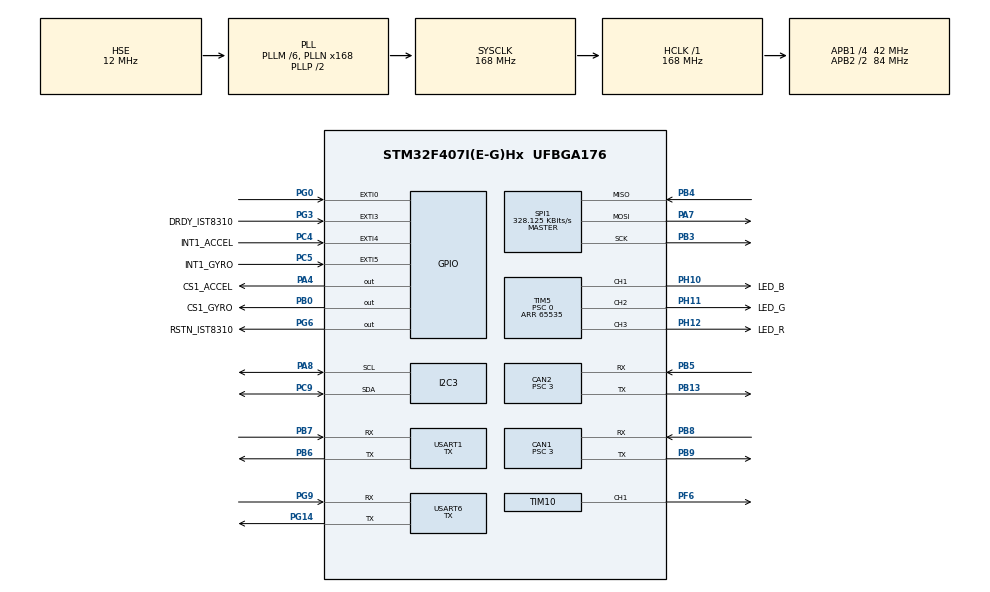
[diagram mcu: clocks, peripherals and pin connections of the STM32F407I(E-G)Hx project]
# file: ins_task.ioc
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CAN1.BS1=CAN_BS1_10TQ
CAN1.BS2=CAN_BS2_3TQ
CAN1.CalculateBaudRate=1000000
CAN1.CalculateTimeBit=1000
CAN1.CalculateTimeQuantum=71.42857142857143
CAN1.Prescaler=3
CAN2.BS1=CAN_BS1_10TQ
CAN2.BS2=CAN_BS2_3TQ
CAN2.CalculateBaudRate=1000000
CAN2.CalculateTimeBit=1000
CAN2.CalculateTimeQuantum=71.42857142857143
CAN2.Prescaler=3
Dma.Request0=SPI1_RX
Dma.Request1=SPI1_TX
Dma.Request2=USART1_TX
Dma.Request3=USART6_TX
Dma.SPI1_RX.0.Direction=DMA_PERIPH_TO_MEMORY
Dma.SPI1_RX.0.FIFOMode=DMA_FIFOMODE_DISABLE
Dma.SPI1_RX.0.Instance=DMA2_Stream2
Dma.SPI1_RX.0.MemDataAlignment=DMA_MDATAALIGN_BYTE
Dma.SPI1_RX.0.MemInc=DMA_MINC_ENABLE
Dma.SPI1_RX.0.Mode=DMA_NORMAL
Dma.SPI1_RX.0.PeriphDataAlignment=DMA_PDATAALIGN_BYTE
Dma.SPI1_RX.0.PeriphInc=DMA_PINC_DISABLE
Dma.SPI1_RX.0.Priority=DMA_PRIORITY_VERY_HIGH
Dma.SPI1_TX.1.Direction=DMA_MEMORY_TO_PERIPH
Dma.SPI1_TX.1.FIFOMode=DMA_FIFOMODE_DISABLE
Dma.SPI1_TX.1.Instance=DMA2_Stream3
Dma.SPI1_TX.1.MemDataAlignment=DMA_MDATAALIGN_BYTE
Dma.SPI1_TX.1.MemInc=DMA_MINC_ENABLE
Dma.SPI1_TX.1.Mode=DMA_NORMAL
Dma.SPI1_TX.1.PeriphDataAlignment=DMA_PDATAALIGN_BYTE
Dma.SPI1_TX.1.PeriphInc=DMA_PINC_DISABLE
Dma.SPI1_TX.1.Priority=DMA_PRIORITY_HIGH
Dma.USART1_TX.2.Direction=DMA_MEMORY_TO_PERIPH
Dma.USART1_TX.2.FIFOMode=DMA_FIFOMODE_DISABLE
Dma.USART1_TX.2.Instance=DMA2_Stream7
Dma.USART1_TX.2.MemDataAlignment=DMA_MDATAALIGN_BYTE
Dma.USART1_TX.2.MemInc=DMA_MINC_ENABLE
Dma.USART1_TX.2.Mode=DMA_NORMAL
Dma.USART1_TX.2.PeriphDataAlignment=DMA_PDATAALIGN_BYTE
Dma.USART1_TX.2.PeriphInc=DMA_PINC_DISABLE
Dma.USART1_TX.2.Priority=DMA_PRIORITY_LOW
Dma.USART6_TX.3.Direction=DMA_MEMORY_TO_PERIPH
Dma.USART6_TX.3.FIFOMode=DMA_FIFOMODE_DISABLE
Dma.USART6_TX.3.Instance=DMA2_Stream6
Dma.USART6_TX.3.MemDataAlignment=DMA_MDATAALIGN_BYTE
Dma.USART6_TX.3.MemInc=DMA_MINC_ENABLE
Dma.USART6_TX.3.Mode=DMA_NORMAL
Dma.USART6_TX.3.PeriphDataAlignment=DMA_PDATAALIGN_BYTE
Dma.USART6_TX.3.PeriphInc=DMA_PINC_DISABLE
Dma.USART6_TX.3.Priority=DMA_PRIORITY_LOW
FREERTOS.INCLUDE_eTaskGetState=1
FREERTOS.INCLUDE_pcTaskGetTaskName=1
FREERTOS.INCLUDE_uxTaskGetStackHighWaterMark=1
FREERTOS.INCLUDE_vTaskCleanUpResources=1
FREERTOS.INCLUDE_vTaskDelayUntil=1
FREERTOS.INCLUDE_xEventGroupSetBitFromISR=1
FREERTOS.INCLUDE_xQueueGetMutexHolder=1
FREERTOS.INCLUDE_xSemaphoreGetMutexHolder=1
FREERTOS.INCLUDE_xTaskAbortDelay=1
FREERTOS.INCLUDE_xTaskGetCurrentTaskHandle=1
FREERTOS.INCLUDE_xTaskGetHandle=1
FREERTOS.INCLUDE_xTimerPendFunctionCall=1
FREERTOS.Tasks01=test,24,128,test_task,As weak,NULL,Dynamic,NULL,NULL
FREERTOS.configTOTAL_HEAP_SIZE=24576
I2C3.I2C_Mode=I2C_Fast
Mcu.Family=STM32F4
Mcu.Name=STM32F407I(E-G)Hx
Mcu.Package=UFBGA176
NVIC.CAN1_RX0_IRQn=true\:5\:0\:false\:false\:true\:true\:true\:true\:true
NVIC.CAN2_RX0_IRQn=true\:5\:0\:false\:false\:true\:true\:true\:true\:true
NVIC.DMA2_Stream2_IRQn=true\:5\:0\:true\:false\:false\:true\:false\:true\:true
NVIC.DMA2_Stream3_IRQn=true\:5\:0\:true\:false\:false\:true\:false\:true\:true
NVIC.DMA2_Stream6_IRQn=true\:5\:0\:false\:false\:true\:true\:false\:true\:true
NVIC.DMA2_Stream7_IRQn=true\:5\:0\:false\:false\:true\:true\:false\:true\:true
NVIC.EXTI0_IRQn=true\:6\:0\:true\:false\:true\:true\:true\:true\:true
NVIC.EXTI3_IRQn=true\:5\:0\:true\:false\:true\:true\:true\:true\:true
NVIC.EXTI4_IRQn=true\:5\:0\:true\:false\:true\:true\:true\:true\:true
NVIC.EXTI9_5_IRQn=true\:5\:0\:true\:false\:true\:true\:true\:true\:true
NVIC.PriorityGroup=NVIC_PRIORITYGROUP_4
NVIC.TIM7_IRQn=true\:15\:0\:false\:false\:true\:false\:false\:true\:true
NVIC.TimeBase=TIM7_IRQn
NVIC.TimeBaseIP=TIM7
PA13.Mode=Serial_Wire
PA13.Signal=SYS_JTMS-SWDIO
PA14.Mode=Serial_Wire
PA14.Signal=SYS_JTCK-SWCLK
PA4.GPIO_Label=CS1_ACCEL
PA4.GPIO_PuPd=GPIO_PULLUP
PA4.GPIO_Speed=GPIO_SPEED_FREQ_HIGH
PA4.PinState=GPIO_PIN_SET
PA4.Signal=GPIO_Output
PA7.GPIO_PuPd=GPIO_PULLUP
PA7.Mode=Full_Duplex_Master
PA7.Signal=SPI1_MOSI
PA8.GPIO_Pu=GPIO_PULLUP
PA8.Mode=I2C
PA8.Signal=I2C3_SCL
PB0.GPIO_Label=CS1_GYRO
PB0.GPIO_PuPd=GPIO_PULLUP
PB0.GPIO_Speed=GPIO_SPEED_FREQ_HIGH
PB0.PinState=GPIO_PIN_SET
PB0.Signal=GPIO_Output
PB13.Mode=CAN_Activate
PB13.Signal=CAN2_TX
PB3.GPIO_PuPd=GPIO_PULLUP
PB3.Mode=Full_Duplex_Master
PB3.Signal=SPI1_SCK
PB4.GPIO_PuPd=GPIO_PULLUP
PB4.Mode=Full_Duplex_Master
PB4.Signal=SPI1_MISO
PB5.Mode=CAN_Activate
PB5.Signal=CAN2_RX
PB6.Mode=Asynchronous
PB6.Signal=USART1_TX
PB7.Mode=Asynchronous
PB7.Signal=USART1_RX
PB8.Mode=CAN_Activate
PB8.Signal=CAN1_RX
PB9.Mode=CAN_Activate
PB9.Signal=CAN1_TX
PC4.GPIO_Label=INT1_ACCEL
PC4.GPIO_ModeDefaultEXTI=GPIO_MODE_IT_FALLING
PC4.GPIO_PuPd=GPIO_PULLUP
PC4.Signal=GPXTI4
PC5.GPIO_Label=INT1_GYRO
PC5.GPIO_ModeDefaultEXTI=GPIO_MODE_IT_FALLING
PC5.GPIO_PuPd=GPIO_PULLUP
PC5.Signal=GPXTI5
PC9.GPIO_Pu=GPIO_PULLUP
PC9.Mode=I2C
PC9.Signal=I2C3_SDA
PF6.GPIO_PuPd=GPIO_PULLUP
PF6.GPIO_Speed=GPIO_SPEED_FREQ_HIGH
PF6.Signal=S_TIM10_CH1
PG0.GPIO_ModeDefaultEXTI=GPIO_MODE_IT_FALLING
PG0.GPIO_PuPd=GPIO_PULLUP
PG0.Signal=GPXTI0
PG14.Mode=Asynchronous
PG14.Signal=USART6_TX
PG3.GPIO_Label=DRDY_IST8310
PG3.GPIO_ModeDefaultEXTI=GPIO_MODE_IT_FALLING
PG3.GPIO_PuPd=GPIO_PULLUP
PG3.Signal=GPXTI3
PG6.GPIO_Label=RSTN_IST8310
PG6.GPIO_PuPd=GPIO_PULLUP
PG6.GPIO_Speed=GPIO_SPEED_FREQ_MEDIUM
PG6.PinState=GPIO_PIN_SET
PG6.Signal=GPIO_Output
PG9.Mode=Asynchronous
PG9.Signal=USART6_RX
PH0-OSC_IN.Mode=HSE-External-Oscillator
PH0-OSC_IN.Signal=RCC_OSC_IN
PH1-OSC_OUT.Mode=HSE-External-Oscillator
PH1-OSC_OUT.Signal=RCC_OSC_OUT
PH10.GPIO_Label=LED_B
PH10.GPIO_PuPd=GPIO_PULLUP
PH10.GPIO_Speed=GPIO_SPEED_FREQ_HIGH
PH10.Signal=S_TIM5_CH1
PH11.GPIO_Label=LED_G
PH11.GPIO_PuPd=GPIO_PULLUP
PH11.GPIO_Speed=GPIO_SPEED_FREQ_HIGH
PH11.Signal=S_TIM5_CH2
PH12.GPIO_Label=LED_R
PH12.GPIO_PuPd=GPIO_PULLUP
PH12.GPIO_Speed=GPIO_SPEED_FREQ_HIGH
PH12.Signal=S_TIM5_CH3
ProjectManager.HeapSize=0x2000
ProjectManager.StackSize=0x2000
ProjectManager.TargetToolchain=MDK-ARM V5
RCC.48MHZClocksFreq_Value=48000000
RCC.AHBFreq_Value=168000000
RCC.APB1CLKDivider=RCC_HCLK_DIV4
RCC.APB1Freq_Value=42000000
RCC.APB1TimFreq_Value=84000000
RCC.APB2CLKDivider=RCC_HCLK_DIV2
RCC.APB2Freq_Value=84000000
RCC.APB2TimFreq_Value=168000000
RCC.CortexFreq_Value=168000000
RCC.HCLKFreq_Value=168000000
RCC.HSE_VALUE=12000000
RCC.HSI_VALUE=16000000
RCC.LSE_VALUE=32768
RCC.PLLM=6
RCC.PLLN=168
RCC.PLLQ=7
RCC.PLLSourceVirtual=RCC_PLLSOURCE_HSE
RCC.RCC_RTC_Clock_SourceVirtual=RCC_RTCCLKSOURCE_HSE_DIV30
RCC.RCC_RTC_Clock_Source_FROM_HSE=RCC_RTCCLKSOURCE_HSE_DIV30
RCC.SYSCLKFreq_VALUE=168000000
RCC.SYSCLKSource=RCC_SYSCLKSOURCE_PLLCLK
RCC.VCOOutputFreq_Value=336000000
SH.S_TIM10_CH1.0=TIM10_CH1,PWM Generation1 CH1
SH.S_TIM5_CH1.0=TIM5_CH1,PWM Generation1 CH1
SH.S_TIM5_CH2.0=TIM5_CH2,PWM Generation2 CH2
SH.S_TIM5_CH3.0=TIM5_CH3,PWM Generation3 CH3
SPI1.BaudRatePrescaler=SPI_BAUDRATEPRESCALER_256
SPI1.CLKPhase=SPI_PHASE_2EDGE
SPI1.CLKPolarity=SPI_POLARITY_HIGH
SPI1.CalculateBaudRate=328.125 KBits/s
SPI1.Direction=SPI_DIRECTION_2LINES
SPI1.Mode=SPI_MODE_MASTER
SPI1.VirtualType=VM_MASTER
TIM10.Channel=TIM_CHANNEL_1
TIM10.Period=4999
TIM5.Channel-PWM\ Generation1\ CH1=TIM_CHANNEL_1
TIM5.Channel-PWM\ Generation2\ CH2=TIM_CHANNEL_2
TIM5.Channel-PWM\ Generation3\ CH3=TIM_CHANNEL_3
TIM5.Period=65535
TIM5.Prescaler=0
USART1.Mode=MODE_TX
USART1.VirtualMode=VM_ASYNC
USART6.Mode=MODE_TX
USART6.VirtualMode=VM_ASYNC
VP_FREERTOS_VS_CMSIS_V1.Mode=CMSIS_V1
VP_SYS_VS_tim7.Mode=TIM7
VP_TIM10_VS_ClockSourceINT.Mode=Enable_Timer
VP_TIM5_VS_ClockSourceINT.Mode=Internal
board=custom

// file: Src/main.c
/* USER CODE BEGIN Header */
/**
  ******************************************************************************
  * @file           : main.c
  * @brief          : Main program body
  ******************************************************************************
  * @attention
  *
  * <h2><center>&copy; Copyright (c) 2019 STMicroelectronics.
  * All rights reserved.</center></h2>
  *
  * This software component is licensed by ST under Ultimate Liberty license
  * SLA0044, the "License"; You may not use this file except in compliance with
  * the License. You may obtain a copy of the License at:
  *                             www.st.com/SLA0044
  *
  ******************************************************************************
  */
/* USER CODE END Header */
#include "main.h"
#include "cmsis_os.h"
#include "can.h"
#include "dma.h"
#include "i2c.h"
#include "spi.h"
#include "tim.h"
#include "usart.h"
#include "gpio.h"

/* USER CODE BEGIN Includes */
#include "bsp_delay.h"
/* USER CODE END Includes */

void SystemClock_Config(void);
void MX_FREERTOS_Init(void);

int main(void)
{

  /* MCU Configuration--------------------------------------------------------*/

  /* Reset of all peripherals, Initializes the Flash interface and the Systick. */
  HAL_Init();

  /* Configure the system clock */
  SystemClock_Config();

  /* Initialize all configured peripherals */
  MX_GPIO_Init();
  MX_DMA_Init();
  MX_SPI1_Init();
  MX_TIM5_Init();
  MX_I2C3_Init();
  MX_TIM10_Init();
  MX_USART1_UART_Init();
  MX_USART6_UART_Init();
  MX_CAN1_Init();
  MX_CAN2_Init();
  /* USER CODE BEGIN 2 */
    delay_init();
  /* USER CODE END 2 */

  /* Call init function for freertos objects (in cmsis_os2.c) */
  MX_FREERTOS_Init();

  /* Start scheduler */
  osKernelStart();

  /* We should never get here as control is now taken by the scheduler */

  /* Infinite loop */
  while (1)
  {

  }
}

void SystemClock_Config(void)
{
  RCC_OscInitTypeDef RCC_OscInitStruct = {0};
  RCC_ClkInitTypeDef RCC_ClkInitStruct = {0};

  /** Configure the main internal regulator output voltage
  */
  __HAL_RCC_PWR_CLK_ENABLE();
  __HAL_PWR_VOLTAGESCALING_CONFIG(PWR_REGULATOR_VOLTAGE_SCALE1);

  /** Initializes the RCC Oscillators according to the specified parameters
  * in the RCC_OscInitTypeDef structure.
  */
  RCC_OscInitStruct.OscillatorType = RCC_OSCILLATORTYPE_HSE;
  RCC_OscInitStruct.HSEState = RCC_HSE_ON;
  RCC_OscInitStruct.PLL.PLLState = RCC_PLL_ON;
  RCC_OscInitStruct.PLL.PLLSource = RCC_PLLSOURCE_HSE;
  RCC_OscInitStruct.PLL.PLLM = 6;
  RCC_OscInitStruct.PLL.PLLN = 168;
  RCC_OscInitStruct.PLL.PLLP = RCC_PLLP_DIV2;
  RCC_OscInitStruct.PLL.PLLQ = 7;
  if (HAL_RCC_OscConfig(&RCC_OscInitStruct) != HAL_OK)
  {
    Error_Handler();
  }

  /** Initializes the CPU, AHB and APB buses clocks
  */
  RCC_ClkInitStruct.ClockType = RCC_CLOCKTYPE_HCLK|RCC_CLOCKTYPE_SYSCLK
                              |RCC_CLOCKTYPE_PCLK1|RCC_CLOCKTYPE_PCLK2;
  RCC_ClkInitStruct.SYSCLKSource = RCC_SYSCLKSOURCE_PLLCLK;
  RCC_ClkInitStruct.AHBCLKDivider = RCC_SYSCLK_DIV1;
  RCC_ClkInitStruct.APB1CLKDivider = RCC_HCLK_DIV4;
  RCC_ClkInitStruct.APB2CLKDivider = RCC_HCLK_DIV2;

  if (HAL_RCC_ClockConfig(&RCC_ClkInitStruct, FLASH_LATENCY_5) != HAL_OK)
  {
    Error_Handler();
  }
}

void HAL_TIM_PeriodElapsedCallback(TIM_HandleTypeDef *htim)
{
  if (htim->Instance == TIM7) {
    HAL_IncTick();
  }
}

void Error_Handler(void)
{
}

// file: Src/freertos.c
/* USER CODE BEGIN Header */
/**
 ******************************************************************************
 * File Name          : freertos.c
 * Description        : Code for freertos applications
 ******************************************************************************
 * @attention
 *
 * <h2><center>&copy; Copyright (c) 2019 STMicroelectronics.
 * All rights reserved.</center></h2>
 *
 * This software component is licensed by ST under Ultimate Liberty license
 * SLA0044, the "License"; You may not use this file except in compliance with
 * the License. You may obtain a copy of the License at:
 *                             www.st.com/SLA0044
 *
 ******************************************************************************
 */
/* USER CODE END Header */

#include "FreeRTOS.h"
#include "cmsis_os.h"
#include "main.h"
#include "task.h"

/* USER CODE BEGIN Includes */

#include "INS_task.h"
#include "data_broadcast_task.h"
#include "led_flow_task.h"

/* USER CODE END Includes */

/* USER CODE BEGIN PTD */

osThreadId imuTaskHandle;
osThreadId led_RGB_flow_handle;

osThreadId uart1_broadcast_handle;
osThreadId uart6_broadcast_handle;
/* USER CODE END PTD */

osThreadId testHandle;

void test_task(void const *argument);

void MX_FREERTOS_Init(void); /* (MISRA C 2004 rule 8.1) */

/* GetIdleTaskMemory prototype (linked to static allocation support) */
void vApplicationGetIdleTaskMemory(StaticTask_t **ppxIdleTaskTCBBuffer,
                                   StackType_t **ppxIdleTaskStackBuffer,
                                   uint32_t *pulIdleTaskStackSize);

/* GetTimerTaskMemory prototype (linked to static allocation support) */
void vApplicationGetTimerTaskMemory(StaticTask_t **ppxTimerTaskTCBBuffer,
                                    StackType_t **ppxTimerTaskStackBuffer,
                                    uint32_t *pulTimerTaskStackSize);

/* USER CODE BEGIN GET_IDLE_TASK_MEMORY */
static StaticTask_t xIdleTaskTCBBuffer;
static StackType_t xIdleStack[configMINIMAL_STACK_SIZE];

void vApplicationGetIdleTaskMemory(StaticTask_t **ppxIdleTaskTCBBuffer,
                                   StackType_t **ppxIdleTaskStackBuffer,
                                   uint32_t *pulIdleTaskStackSize) {
  *ppxIdleTaskTCBBuffer = &xIdleTaskTCBBuffer;
  *ppxIdleTaskStackBuffer = &xIdleStack[0];
  *pulIdleTaskStackSize = configMINIMAL_STACK_SIZE;
  /* place for user code */
}
/* USER CODE END GET_IDLE_TASK_MEMORY */

/* USER CODE BEGIN GET_TIMER_TASK_MEMORY */
static StaticTask_t xTimerTaskTCBBuffer;
static StackType_t xTimerStack[configTIMER_TASK_STACK_DEPTH];

void vApplicationGetTimerTaskMemory(StaticTask_t **ppxTimerTaskTCBBuffer,
                                    StackType_t **ppxTimerTaskStackBuffer,
                                    uint32_t *pulTimerTaskStackSize) {
  *ppxTimerTaskTCBBuffer = &xTimerTaskTCBBuffer;
  *ppxTimerTaskStackBuffer = &xTimerStack[0];
  *pulTimerTaskStackSize = configTIMER_TASK_STACK_DEPTH;
  /* place for user code */
}
/* USER CODE END GET_TIMER_TASK_MEMORY */

void MX_FREERTOS_Init(void) {

  /* Create the thread(s) */
  /* definition and creation of test */
  osThreadDef(test, test_task, osPriorityNormal, 0, 128);
  testHandle = osThreadCreate(osThread(test), NULL);

  /* USER CODE BEGIN RTOS_THREADS */
  /* add threads, ... */
  osThreadDef(imuTask, INS_task, osPriorityRealtime, 0, 1024);
  imuTaskHandle = osThreadCreate(osThread(imuTask), NULL);

  osThreadDef(led, led_RGB_flow_task, osPriorityNormal, 0, 256);
  led_RGB_flow_handle = osThreadCreate(osThread(led), NULL);

  osThreadDef(uart1_broadcast, uart1_broadcast_task, osPriorityNormal, 0, 256);
  uart1_broadcast_handle = osThreadCreate(osThread(uart1_broadcast), NULL);
  osThreadDef(uart6_broadcast, uart6_broadcast_task, osPriorityNormal, 0, 256);
  uart6_broadcast_handle = osThreadCreate(osThread(uart6_broadcast), NULL);
  /* USER CODE END RTOS_THREADS */
}

__weak void test_task(void const *argument) {
  for (;;) {
    osDelay(1);
  }
}
